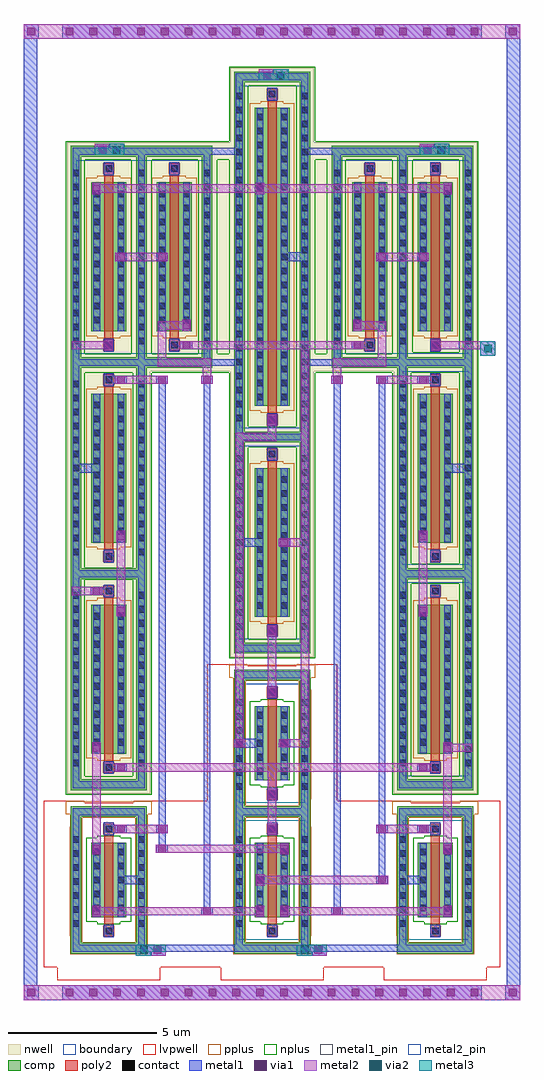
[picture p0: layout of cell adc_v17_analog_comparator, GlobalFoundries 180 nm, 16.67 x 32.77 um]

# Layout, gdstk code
import gdstk
lib = gdstk.Library(unit=1e-6, precision=1e-09)
def R(c, l, rs):  # rectangles x0, y0, x1, y1
    for r in rs: c.add(gdstk.rectangle(r[:2], r[2:], *l))
def A(c, l, x, y, w, h, nx, ny, dx, dy):  # array of equal rectangles
    R(c, l, [(x+i*dx, y+j*dy, x+i*dx+w, y+j*dy+h) for i in range(nx) for j in range(ny)])
def P(c, l, *ps):  # polygons
    for p in ps: c.add(gdstk.Polygon(p, *l))
boundary = (0, 0)
nwell = (21, 0)
comp = (22, 0)
poly2 = (30, 0)
pplus = (31, 0)
nplus = (32, 0)
contact = (33, 0)
metal1 = (34, 0)
metal1_pin = (34, 10)
via1 = (35, 0)
metal2 = (36, 0)
metal2_pin = (36, 10)
via2 = (38, 0)
metal3 = (42, 0)
lvpwell = (204, 0)

adc_v17_analog_comparato = lib.new_cell('adc_v17_analog_comparator')
A(adc_v17_analog_comparato, boundary, 530.855, 44.175, 2.2, 6.5, 1, 3, 0, 7.09)
R(adc_v17_analog_comparato, boundary, [(525.375,38.685,527.575,42.685), (530.855,38.685,533.055,42.685), (525.375,43.275,527.575,47.275), (525.375,48.765,527.575,55.265), (525.375,55.855,527.575,67.355), (519.89,58.355,522.09,64.855), (522.09,58.355,524.29,64.855), (528.655,58.355,530.855,64.855)])
A(adc_v17_analog_comparato, nwell, 530.555, 43.58, 2.8, 7.69, 1, 3, 0, 7.09)
R(adc_v17_analog_comparato, nwell, [(519.59,43.58,522.39,57.76), (525.075,48.17,527.875,55.86), (525.075,55.26,527.875,67.95), (519.59,57.76,522.39,65.45), (519.775,57.76,525.095,65.45), (521.79,57.76,524.59,65.45), (527.855,57.76,532.94,65.45), (528.355,57.76,531.155,65.45)])
A(adc_v17_analog_comparato, comp, 519.71, 43.7, 2.56, 0.36, 1, 4, 0, 7.09)
A(adc_v17_analog_comparato, comp, 519.71, 44.06, 0.36, 6.73, 1, 3, 0, 7.09)
A(adc_v17_analog_comparato, comp, 521.91, 44.06, 0.36, 6.73, 1, 3, 0, 7.09)
A(adc_v17_analog_comparato, comp, 530.675, 44.06, 0.36, 6.73, 1, 3, 0, 7.09)
A(adc_v17_analog_comparato, comp, 532.875, 44.06, 0.36, 6.73, 1, 3, 0, 7.09)
A(adc_v17_analog_comparato, comp, 520.4, 44.925, 1.18, 5, 1, 3, 0, 7.09)
A(adc_v17_analog_comparato, comp, 531.365, 44.925, 1.18, 5, 1, 3, 0, 7.09)
R(adc_v17_analog_comparato, comp, [(519.71,38.21,522.27,38.57), (525.195,38.21,527.755,38.57), (530.675,38.21,533.235,38.57), (519.71,38.57,520.07,42.8), (521.91,38.57,522.27,42.8), (525.195,38.57,525.555,42.8), (527.395,38.57,527.755,42.8), (530.675,38.57,531.035,42.8), (532.875,38.57,533.235,42.8), (520.4,39.435,521.58,41.935), (525.885,39.435,527.065,41.935), (531.365,39.435,532.545,41.935), (519.71,42.8,522.27,43.16), (525.195,42.8,527.755,43.16), (525.195,42.8,527.755,43.16), (530.675,42.8,533.235,43.16), (525.195,43.16,525.555,47.39), (527.395,43.16,527.755,47.39), (530.675,43.7,533.235,44.06), (525.885,44.025,527.065,46.525), (525.195,47.39,527.755,47.75), (525.195,48.29,527.755,48.65), (525.195,48.65,525.555,55.38), (527.395,48.65,527.755,55.38), (525.885,49.515,527.065,54.515), (530.675,50.79,533.235,51.15), (530.675,50.79,533.235,51.15), (525.195,55.38,527.755,55.74), (525.195,55.38,527.755,55.74), (525.195,55.74,525.555,67.47), (527.395,55.74,527.755,67.47), (525.885,56.605,527.065,66.605), (519.71,57.88,524.47,58.24), (521.91,57.88,524.47,58.24), (528.475,57.88,531.035,58.24), (530.675,57.88,533.235,58.24), (530.675,57.88,533.235,58.24), (519.71,58.24,520.07,64.97), (521.91,58.24,522.27,64.97), (521.91,58.24,522.27,64.97), (524.11,58.24,524.47,64.97), (524.11,58.24,524.47,64.97), (528.475,58.24,528.835,64.97), (530.675,58.24,531.035,64.97), (520.4,59.105,521.58,64.105), (522.6,59.105,523.78,64.105), (522.6,59.105,523.78,64.105), (529.165,59.105,530.345,64.105), (519.71,64.97,524.47,65.33), (521.91,64.97,524.47,65.33), (528.475,64.97,531.035,65.33), (530.675,64.97,533.235,65.33), (525.195,67.47,527.755,67.83)])
A(adc_v17_analog_comparato, poly2, 520.84, 44.64, 0.3, 5.57, 1, 3, 0, 7.09)
A(adc_v17_analog_comparato, poly2, 531.805, 44.64, 0.3, 5.57, 1, 3, 0, 7.09)
R(adc_v17_analog_comparato, poly2, [(520.81,38.79,521.17,39.15), (526.295,38.79,526.655,39.15), (531.775,38.79,532.135,39.15), (520.84,39.15,521.14,42.22), (526.325,39.15,526.625,42.22), (531.805,39.15,532.105,42.22), (520.81,42.22,521.17,42.58), (526.295,42.22,526.655,42.58), (531.775,42.22,532.135,42.58), (526.295,43.38,526.655,43.74), (526.325,43.74,526.625,46.81), (520.81,44.28,521.17,44.64), (531.775,44.28,532.135,44.64), (526.295,46.81,526.655,47.17), (526.295,48.87,526.655,49.23), (526.325,49.23,526.625,54.8), (520.81,50.21,521.17,50.57), (531.775,50.21,532.135,50.57), (520.81,51.37,521.17,51.73), (531.775,51.37,532.135,51.73), (526.295,54.8,526.655,55.16), (526.295,55.96,526.655,56.32), (526.325,56.32,526.625,66.89), (520.81,57.3,521.17,57.66), (531.775,57.3,532.135,57.66), (520.81,58.46,521.17,58.82), (520.81,58.46,521.17,58.82), (523.01,58.46,523.37,58.82), (523.01,58.46,523.37,58.82), (529.575,58.46,529.935,58.82), (531.775,58.46,532.135,58.82), (520.84,58.82,521.14,64.39), (523.04,58.82,523.34,64.39), (523.04,58.82,523.34,64.39), (529.605,58.82,529.905,64.39), (520.81,64.39,521.17,64.75), (520.81,64.39,521.17,64.75), (523.01,64.39,523.37,64.75), (523.01,64.39,523.37,64.75), (529.575,64.39,529.935,64.75), (531.775,64.39,532.135,64.75), (526.295,66.89,526.655,67.25)])
A(adc_v17_analog_comparato, pplus, 520.24, 44.765, 1.5, 5.32, 1, 3, 0, 7.09)
A(adc_v17_analog_comparato, pplus, 531.205, 44.765, 1.5, 5.32, 1, 3, 0, 7.09)
R(adc_v17_analog_comparato, pplus, [(519.69,38.19,522.29,38.59), (525.175,38.19,527.775,38.59), (530.655,38.19,533.255,38.59), (519.69,38.59,520.1,38.805), (521.88,38.59,522.29,38.805), (525.175,38.59,525.585,38.805), (527.365,38.59,527.775,38.805), (530.655,38.59,531.065,38.805), (532.845,38.59,533.255,38.805), (519.68,38.805,520.1,42.48), (521.88,38.805,522.3,42.48), (525.165,38.805,525.585,42.48), (527.365,38.805,527.785,42.48), (530.645,38.805,531.065,42.48), (532.845,38.805,533.265,42.48), (519.69,42.48,520.1,42.78), (521.88,42.48,522.29,42.78), (525.175,42.48,525.585,42.78), (527.365,42.48,527.775,42.78), (530.655,42.48,531.065,42.78), (532.845,42.48,533.255,42.78), (519.69,42.78,522.29,42.99), (525.175,42.78,527.775,43.18), (525.175,42.78,527.775,43.18), (530.655,42.78,533.255,43.18), (519.55,42.89,522.43,43.32), (530.515,42.89,533.395,43.32), (519.55,42.99,522.43,43.32), (530.515,42.99,530.655,43.18), (533.255,42.99,533.395,43.18), (525.175,43.18,525.585,43.395), (527.365,43.18,527.775,43.395), (530.515,43.18,533.395,43.32), (525.165,43.395,525.585,47.07), (527.365,43.395,527.785,47.07), (520.61,44.695,521.37,44.765), (531.575,44.695,532.335,44.765), (525.175,47.07,525.585,47.37), (527.365,47.07,527.775,47.37), (525.175,47.37,527.775,47.77), (525.035,47.48,527.915,47.91), (525.035,47.58,525.175,47.77), (527.775,47.58,527.915,47.77), (525.035,47.77,527.915,47.91), (526.095,49.285,526.855,49.355), (525.725,49.355,527.225,54.675), (520.61,50.085,521.37,50.155), (531.575,50.085,532.335,50.155), (520.61,51.785,521.37,51.855), (531.575,51.785,532.335,51.855), (526.095,54.675,526.855,54.745), (526.095,56.375,526.855,56.445), (525.725,56.445,527.225,66.765), (520.61,57.175,521.37,57.245), (531.575,57.175,532.335,57.245), (520.61,58.875,521.37,58.945), (520.61,58.875,521.37,58.945), (522.81,58.875,523.57,58.945), (522.81,58.875,523.57,58.945), (529.375,58.875,530.135,58.945), (531.575,58.875,532.335,58.945), (520.24,58.945,521.74,64.265), (522.44,58.945,523.94,64.265), (522.44,58.945,523.94,64.265), (529.005,58.945,530.505,64.265), (520.61,64.265,521.37,64.335), (520.61,64.265,521.37,64.335), (522.81,64.265,523.57,64.335), (522.81,64.265,523.57,64.335), (529.375,64.265,530.135,64.335), (531.575,64.265,532.335,64.335), (526.095,66.765,526.855,66.835)])
A(adc_v17_analog_comparato, nplus, 530.515, 44.17, 0.63, 6.51, 1, 3, 0, 7.09)
A(adc_v17_analog_comparato, nplus, 532.765, 44.17, 0.63, 6.51, 1, 3, 0, 7.09)
R(adc_v17_analog_comparato, nplus, [(520.61,39.205,521.37,39.275), (526.095,39.205,526.855,39.275), (531.575,39.205,532.335,39.275), (520.24,39.275,521.74,42.095), (525.725,39.275,527.225,42.095), (531.205,39.275,532.705,42.095), (520.61,42.095,521.37,42.165), (526.095,42.095,526.855,42.165), (531.575,42.095,532.335,42.165), (519.55,43.54,522.43,44.17), (530.515,43.54,533.395,44.17), (526.095,43.795,526.855,43.865), (525.725,43.865,527.225,46.685), (519.55,44.17,520.18,50.77), (521.8,44.17,522.43,50.77), (526.095,46.685,526.855,46.755), (525.035,48.13,527.915,48.76), (525.035,48.76,525.665,55.27), (527.285,48.76,527.915,55.27), (530.515,50.63,533.395,51.26), (530.515,50.68,533.395,51.31), (519.55,50.77,522.43,51.17), (519.55,51.17,520.18,57.86), (521.8,51.17,522.43,57.72), (525.035,55.22,527.915,55.85), (525.035,55.27,527.915,55.9), (525.035,55.85,525.665,67.36), (527.285,55.85,527.915,67.36), (519.55,57.72,522.43,58.35), (521.75,57.72,524.63,58.35), (521.985,57.72,525.035,57.86), (527.915,57.72,532.94,58.35), (528.315,57.72,531.195,58.35), (530.515,57.72,533.395,58.35), (530.515,57.77,533.395,58.4), (519.735,57.86,525.035,58.26), (519.55,58.26,520.18,64.86), (521.985,58.26,525.035,58.35), (519.55,58.35,520.18,64.86), (521.75,58.35,522.38,64.86), (521.8,58.35,522.43,64.86), (521.88,58.35,522.3,64.86), (524,58.35,524.63,64.86), (524.08,58.35,524.5,64.86), (528.315,58.35,528.945,64.86), (530.565,58.35,531.195,64.86), (519.55,64.86,522.43,65.49), (519.735,64.86,525.035,65.49), (521.75,64.86,524.63,65.49), (527.915,64.86,532.94,65.49), (528.315,64.86,531.195,65.49), (530.515,64.86,533.395,65.49), (525.035,67.36,527.915,67.99)])
A(adc_v17_analog_comparato, contact, 519.78, 39.12, 0.22, 0.22, 1, 7, 0, 0.47)
A(adc_v17_analog_comparato, contact, 521.98, 39.12, 0.22, 0.22, 1, 7, 0, 0.47)
A(adc_v17_analog_comparato, contact, 525.265, 39.12, 0.22, 0.22, 1, 7, 0, 0.47)
A(adc_v17_analog_comparato, contact, 527.465, 39.12, 0.22, 0.22, 1, 7, 0, 0.47)
A(adc_v17_analog_comparato, contact, 530.745, 39.12, 0.22, 0.22, 1, 7, 0, 0.47)
A(adc_v17_analog_comparato, contact, 532.945, 39.12, 0.22, 0.22, 1, 7, 0, 0.47)
A(adc_v17_analog_comparato, contact, 520.47, 39.635, 0.22, 0.22, 1, 5, 0, 0.47)
A(adc_v17_analog_comparato, contact, 521.29, 39.635, 0.22, 0.22, 1, 5, 0, 0.47)
A(adc_v17_analog_comparato, contact, 525.955, 39.635, 0.22, 0.22, 1, 5, 0, 0.47)
A(adc_v17_analog_comparato, contact, 526.775, 39.635, 0.22, 0.22, 1, 5, 0, 0.47)
A(adc_v17_analog_comparato, contact, 531.435, 39.635, 0.22, 0.22, 1, 5, 0, 0.47)
A(adc_v17_analog_comparato, contact, 532.255, 39.635, 0.22, 0.22, 1, 5, 0, 0.47)
A(adc_v17_analog_comparato, contact, 525.265, 43.71, 0.22, 0.22, 1, 7, 0, 0.47)
A(adc_v17_analog_comparato, contact, 527.465, 43.71, 0.22, 0.22, 1, 7, 0, 0.47)
A(adc_v17_analog_comparato, contact, 525.955, 44.225, 0.22, 0.22, 1, 5, 0, 0.47)
A(adc_v17_analog_comparato, contact, 526.775, 44.225, 0.22, 0.22, 1, 5, 0, 0.47)
A(adc_v17_analog_comparato, contact, 519.78, 44.495, 0.22, 0.22, 1, 13, 0, 0.47)
A(adc_v17_analog_comparato, contact, 521.98, 44.495, 0.22, 0.22, 1, 13, 0, 0.47)
A(adc_v17_analog_comparato, contact, 530.745, 44.495, 0.22, 0.22, 1, 13, 0, 0.47)
A(adc_v17_analog_comparato, contact, 532.945, 44.495, 0.22, 0.22, 1, 13, 0, 0.47)
A(adc_v17_analog_comparato, contact, 520.47, 45.2, 0.22, 0.22, 1, 10, 0, 0.47)
A(adc_v17_analog_comparato, contact, 521.29, 45.2, 0.22, 0.22, 1, 10, 0, 0.47)
A(adc_v17_analog_comparato, contact, 531.435, 45.2, 0.22, 0.22, 1, 10, 0, 0.47)
A(adc_v17_analog_comparato, contact, 532.255, 45.2, 0.22, 0.22, 1, 10, 0, 0.47)
A(adc_v17_analog_comparato, contact, 525.265, 49.085, 0.22, 0.22, 1, 13, 0, 0.47)
A(adc_v17_analog_comparato, contact, 527.465, 49.085, 0.22, 0.22, 1, 13, 0, 0.47)
A(adc_v17_analog_comparato, contact, 525.955, 49.79, 0.22, 0.22, 1, 10, 0, 0.47)
A(adc_v17_analog_comparato, contact, 526.775, 49.79, 0.22, 0.22, 1, 10, 0, 0.47)
A(adc_v17_analog_comparato, contact, 519.78, 51.585, 0.22, 0.22, 1, 13, 0, 0.47)
A(adc_v17_analog_comparato, contact, 521.98, 51.585, 0.22, 0.22, 1, 13, 0, 0.47)
A(adc_v17_analog_comparato, contact, 530.745, 51.585, 0.22, 0.22, 1, 13, 0, 0.47)
A(adc_v17_analog_comparato, contact, 532.945, 51.585, 0.22, 0.22, 1, 13, 0, 0.47)
A(adc_v17_analog_comparato, contact, 520.47, 52.29, 0.22, 0.22, 1, 10, 0, 0.47)
A(adc_v17_analog_comparato, contact, 521.29, 52.29, 0.22, 0.22, 1, 10, 0, 0.47)
A(adc_v17_analog_comparato, contact, 531.435, 52.29, 0.22, 0.22, 1, 10, 0, 0.47)
A(adc_v17_analog_comparato, contact, 532.255, 52.29, 0.22, 0.22, 1, 10, 0, 0.47)
A(adc_v17_analog_comparato, contact, 525.265, 56.09, 0.22, 0.22, 1, 24, 0, 0.47)
A(adc_v17_analog_comparato, contact, 527.465, 56.09, 0.22, 0.22, 1, 24, 0, 0.47)
A(adc_v17_analog_comparato, contact, 525.955, 56.795, 0.22, 0.22, 1, 21, 0, 0.47)
A(adc_v17_analog_comparato, contact, 526.775, 56.795, 0.22, 0.22, 1, 21, 0, 0.47)
A(adc_v17_analog_comparato, contact, 528.545, 58.675, 0.22, 0.22, 1, 13, 0, 0.47)
A(adc_v17_analog_comparato, contact, 532.945, 58.675, 0.22, 0.22, 1, 13, 0, 0.47)
A(adc_v17_analog_comparato, contact, 529.235, 59.38, 0.22, 0.22, 1, 10, 0, 0.47)
A(adc_v17_analog_comparato, contact, 530.055, 59.38, 0.22, 0.22, 1, 10, 0, 0.47)
A(adc_v17_analog_comparato, contact, 531.435, 59.38, 0.22, 0.22, 1, 10, 0, 0.47)
A(adc_v17_analog_comparato, contact, 532.255, 59.38, 0.22, 0.22, 1, 10, 0, 0.47)
R(adc_v17_analog_comparato, contact, [(520.88,38.86,521.1,39.08), (526.365,38.86,526.585,39.08), (531.845,38.86,532.065,39.08), (520.88,42.29,521.1,42.51), (526.365,42.29,526.585,42.51), (531.845,42.29,532.065,42.51), (526.365,43.45,526.585,43.67), (520.88,44.35,521.1,44.57), (531.845,44.35,532.065,44.57), (526.365,46.88,526.585,47.1), (526.365,48.94,526.585,49.16), (520.88,50.28,521.1,50.5), (531.845,50.28,532.065,50.5), (520.88,51.44,521.1,51.66), (531.845,51.44,532.065,51.66), (526.365,54.87,526.585,55.09), (526.365,56.03,526.585,56.25), (520.88,57.37,521.1,57.59), (531.845,57.37,532.065,57.59), (520.88,58.53,521.1,58.75), (520.88,58.53,521.1,58.75), (523.08,58.53,523.3,58.75), (523.08,58.53,523.3,58.75), (529.645,58.53,529.865,58.75), (531.845,58.53,532.065,58.75), (519.78,58.675,520,58.895), (519.78,58.675,520,58.895), (521.98,58.675,522.2,58.895), (521.98,58.675,522.2,58.895), (521.98,58.675,522.2,58.895), (524.18,58.675,524.4,58.895), (524.18,58.675,524.4,58.895), (530.745,58.675,530.965,58.895), (530.745,58.675,530.965,58.895), (519.78,59.145,520,59.365), (519.78,59.145,520,59.365), (521.98,59.145,522.2,59.365), (521.98,59.145,522.2,59.365), (521.98,59.145,522.2,59.365), (524.18,59.145,524.4,59.365), (524.18,59.145,524.4,59.365), (530.745,59.145,530.965,59.365), (530.745,59.145,530.965,59.365), (520.47,59.38,520.69,59.6), (520.47,59.38,520.69,59.6), (521.29,59.38,521.51,59.6), (521.29,59.38,521.51,59.6), (522.67,59.38,522.89,59.6), (522.67,59.38,522.89,59.6), (523.49,59.38,523.71,59.6), (523.49,59.38,523.71,59.6), (519.78,59.615,520,59.835), (519.78,59.615,520,59.835), (521.98,59.615,522.2,59.835), (521.98,59.615,522.2,59.835), (521.98,59.615,522.2,59.835), (524.18,59.615,524.4,59.835), (524.18,59.615,524.4,59.835), (530.745,59.615,530.965,59.835), (530.745,59.615,530.965,59.835), (520.47,59.85,520.69,60.07), (520.47,59.85,520.69,60.07), (521.29,59.85,521.51,60.07), (521.29,59.85,521.51,60.07), (522.67,59.85,522.89,60.07), (522.67,59.85,522.89,60.07), (523.49,59.85,523.71,60.07), (523.49,59.85,523.71,60.07), (519.78,60.085,520,60.305), (519.78,60.085,520,60.305), (521.98,60.085,522.2,60.305), (521.98,60.085,522.2,60.305), (521.98,60.085,522.2,60.305), (524.18,60.085,524.4,60.305), (524.18,60.085,524.4,60.305), (530.745,60.085,530.965,60.305), (530.745,60.085,530.965,60.305), (520.47,60.32,520.69,60.54), (520.47,60.32,520.69,60.54), (521.29,60.32,521.51,60.54), (521.29,60.32,521.51,60.54), (522.67,60.32,522.89,60.54), (522.67,60.32,522.89,60.54), (523.49,60.32,523.71,60.54), (523.49,60.32,523.71,60.54), (519.78,60.555,520,60.775), (519.78,60.555,520,60.775), (521.98,60.555,522.2,60.775), (521.98,60.555,522.2,60.775), (521.98,60.555,522.2,60.775), (524.18,60.555,524.4,60.775), (524.18,60.555,524.4,60.775), (530.745,60.555,530.965,60.775), (530.745,60.555,530.965,60.775), (520.47,60.79,520.69,61.01), (520.47,60.79,520.69,61.01), (521.29,60.79,521.51,61.01), (521.29,60.79,521.51,61.01), (522.67,60.79,522.89,61.01), (522.67,60.79,522.89,61.01), (523.49,60.79,523.71,61.01), (523.49,60.79,523.71,61.01), (519.78,61.025,520,61.245), (519.78,61.025,520,61.245), (521.98,61.025,522.2,61.245), (521.98,61.025,522.2,61.245), (521.98,61.025,522.2,61.245), (524.18,61.025,524.4,61.245), (524.18,61.025,524.4,61.245), (530.745,61.025,530.965,61.245), (530.745,61.025,530.965,61.245), (520.47,61.26,520.69,61.48), (520.47,61.26,520.69,61.48), (521.29,61.26,521.51,61.48), (521.29,61.26,521.51,61.48), (522.67,61.26,522.89,61.48), (522.67,61.26,522.89,61.48), (523.49,61.26,523.71,61.48), (523.49,61.26,523.71,61.48), (519.78,61.495,520,61.715), (519.78,61.495,520,61.715), (521.98,61.495,522.2,61.715), (521.98,61.495,522.2,61.715), (521.98,61.495,522.2,61.715), (524.18,61.495,524.4,61.715), (524.18,61.495,524.4,61.715), (530.745,61.495,530.965,61.715), (530.745,61.495,530.965,61.715), (520.47,61.73,520.69,61.95), (520.47,61.73,520.69,61.95), (521.29,61.73,521.51,61.95), (521.29,61.73,521.51,61.95), (522.67,61.73,522.89,61.95), (522.67,61.73,522.89,61.95), (523.49,61.73,523.71,61.95), (523.49,61.73,523.71,61.95), (519.78,61.965,520,62.185), (519.78,61.965,520,62.185), (521.98,61.965,522.2,62.185), (521.98,61.965,522.2,62.185), (521.98,61.965,522.2,62.185), (524.18,61.965,524.4,62.185), (524.18,61.965,524.4,62.185), (530.745,61.965,530.965,62.185), (530.745,61.965,530.965,62.185), (520.47,62.2,520.69,62.42), (520.47,62.2,520.69,62.42), (521.29,62.2,521.51,62.42), (521.29,62.2,521.51,62.42), (522.67,62.2,522.89,62.42), (522.67,62.2,522.89,62.42), (523.49,62.2,523.71,62.42), (523.49,62.2,523.71,62.42), (519.78,62.435,520,62.655), (519.78,62.435,520,62.655), (521.98,62.435,522.2,62.655), (521.98,62.435,522.2,62.655), (521.98,62.435,522.2,62.655), (524.18,62.435,524.4,62.655), (524.18,62.435,524.4,62.655), (530.745,62.435,530.965,62.655), (530.745,62.435,530.965,62.655), (520.47,62.67,520.69,62.89), (520.47,62.67,520.69,62.89), (521.29,62.67,521.51,62.89), (521.29,62.67,521.51,62.89), (522.67,62.67,522.89,62.89), (522.67,62.67,522.89,62.89), (523.49,62.67,523.71,62.89), (523.49,62.67,523.71,62.89), (519.78,62.905,520,63.125), (519.78,62.905,520,63.125), (521.98,62.905,522.2,63.125), (521.98,62.905,522.2,63.125), (521.98,62.905,522.2,63.125), (524.18,62.905,524.4,63.125), (524.18,62.905,524.4,63.125), (530.745,62.905,530.965,63.125), (530.745,62.905,530.965,63.125), (520.47,63.14,520.69,63.36), (520.47,63.14,520.69,63.36), (521.29,63.14,521.51,63.36), (521.29,63.14,521.51,63.36), (522.67,63.14,522.89,63.36), (522.67,63.14,522.89,63.36), (523.49,63.14,523.71,63.36), (523.49,63.14,523.71,63.36), (519.78,63.375,520,63.595), (519.78,63.375,520,63.595), (521.98,63.375,522.2,63.595), (521.98,63.375,522.2,63.595), (521.98,63.375,522.2,63.595), (524.18,63.375,524.4,63.595), (524.18,63.375,524.4,63.595), (530.745,63.375,530.965,63.595), (530.745,63.375,530.965,63.595), (520.47,63.61,520.69,63.83), (520.47,63.61,520.69,63.83), (521.29,63.61,521.51,63.83), (521.29,63.61,521.51,63.83), (522.67,63.61,522.89,63.83), (522.67,63.61,522.89,63.83), (523.49,63.61,523.71,63.83), (523.49,63.61,523.71,63.83), (519.78,63.845,520,64.065), (519.78,63.845,520,64.065), (521.98,63.845,522.2,64.065), (521.98,63.845,522.2,64.065), (521.98,63.845,522.2,64.065), (524.18,63.845,524.4,64.065), (524.18,63.845,524.4,64.065), (530.745,63.845,530.965,64.065), (530.745,63.845,530.965,64.065), (519.78,64.315,520,64.535), (519.78,64.315,520,64.535), (521.98,64.315,522.2,64.535), (521.98,64.315,522.2,64.535), (521.98,64.315,522.2,64.535), (524.18,64.315,524.4,64.535), (524.18,64.315,524.4,64.535), (530.745,64.315,530.965,64.535), (530.745,64.315,530.965,64.535), (520.88,64.46,521.1,64.68), (520.88,64.46,521.1,64.68), (523.08,64.46,523.3,64.68), (523.08,64.46,523.3,64.68), (529.645,64.46,529.865,64.68), (531.845,64.46,532.065,64.68), (526.365,66.96,526.585,67.18)])
A(adc_v17_analog_comparato, metal1, 519.42, 36.655, 0.5, 0.5, 18, 2, 0.8, 32.27)
A(adc_v17_analog_comparato, metal1, 518.135, 37.56, 0.46, 0.46, 1, 62, 0, 0.5)
A(adc_v17_analog_comparato, metal1, 534.345, 37.56, 0.46, 0.46, 1, 62, 0, 0.5)
A(adc_v17_analog_comparato, metal1, 519.775, 43.765, 2.43, 0.23, 1, 4, 0, 7.09)
A(adc_v17_analog_comparato, metal1, 521.975, 43.995, 0.23, 6.86, 1, 3, 0, 7.09)
A(adc_v17_analog_comparato, metal1, 530.74, 43.995, 0.23, 6.86, 1, 3, 0, 7.09)
A(adc_v17_analog_comparato, metal1, 532.94, 43.995, 0.23, 6.86, 1, 3, 0, 7.09)
A(adc_v17_analog_comparato, metal1, 531.43, 44.935, 0.23, 4.98, 1, 3, 0, 7.09)
A(adc_v17_analog_comparato, metal1, 532.25, 44.935, 0.23, 4.98, 1, 3, 0, 7.09)
R(adc_v17_analog_comparato, metal1, [(518.135,36.655,518.635,37.155), (518.135,36.655,518.635,37.155), (518.135,36.655,518.595,37.085), (519.42,36.655,533.52,37.155), (534.305,36.655,534.805,37.155), (534.305,36.655,534.805,37.155), (534.345,36.655,534.805,37.085), (518.135,37.085,518.595,68.995), (534.345,37.085,534.805,68.995), (522.415,38.14,522.9,38.505), (527.815,38.14,528.3,38.505), (519.775,38.275,519.96,38.505), (519.96,38.275,531.85,38.505), (522.335,38.275,522.565,38.505), (525.26,38.275,527.69,38.505), (527.58,38.275,527.81,38.505), (527.735,38.275,527.965,38.505), (530.74,38.275,533.17,38.505), (519.775,38.505,520.005,42.865), (521.975,38.505,522.205,40.535), (525.26,38.505,525.49,42.865), (527.46,38.505,527.69,42.865), (530.74,38.505,530.97,42.865), (532.94,38.505,533.17,42.865), (520.82,38.755,521.16,39.185), (526.305,38.755,526.645,39.185), (531.785,38.755,532.125,39.185), (520.45,39.445,520.71,39.825), (521.285,39.445,521.515,40.535), (525.935,39.445,526.195,39.825), (525.95,39.445,526.18,41.925), (526.755,39.445,527.015,39.825), (526.77,39.445,527,41.925), (531.43,39.445,531.66,41.925), (532.235,39.445,532.495,39.825), (532.25,39.445,532.48,41.925), (524.1,39.505,524.48,39.765), (528.465,39.505,528.845,39.765), (524.175,39.765,524.405,57.35), (528.54,39.765,528.77,57.35), (520.465,39.825,520.695,41.545), (525.935,40.495,526.21,40.875), (521.285,40.535,522.205,40.835), (530.835,40.535,531.44,40.835), (529.975,40.555,530.355,40.815), (530.05,40.815,530.28,42.27), (521.285,40.835,521.515,41.925), (521.975,40.835,522.205,42.865), (520.45,41.545,520.71,41.925), (526.755,41.545,527.015,41.925), (532.235,41.545,532.495,41.925), (522.59,41.605,522.97,41.865), (522.665,41.865,522.895,42.27), (520.82,42.185,521.16,42.27), (526.305,42.185,526.645,42.615), (531.785,42.185,532.125,42.615), (520.82,42.27,521.59,42.53), (522.59,42.27,522.97,42.53), (526.345,42.27,526.605,42.53), (529.975,42.27,530.355,42.53), (531.355,42.27,531.91,42.535), (520.82,42.53,521.16,42.615), (522.665,42.53,522.895,57.35), (530.05,42.53,530.28,57.35), (519.775,42.865,522.205,43.095), (525.26,42.865,527.69,43.095), (525.26,42.865,527.69,43.095), (530.74,42.865,533.17,43.095), (525.26,43.095,525.49,47.455), (527.46,43.095,527.69,47.455), (526.305,43.345,526.645,43.775), (526.345,43.43,526.605,43.69), (530.74,43.765,533.17,43.995), (519.775,43.995,520.005,50.855), (525.95,44.035,526.18,46.515), (526.77,44.035,527,46.515), (520.82,44.245,521.16,44.33), (531.785,44.245,532.125,44.675), (520.82,44.33,521.59,44.59), (531.355,44.33,531.81,44.59), (520.82,44.59,521.16,44.675), (520.45,44.935,520.71,45.315), (521.285,44.935,521.515,49.535), (532.235,44.935,532.495,45.315), (525.38,45.125,526.085,45.145), (525.185,45.145,526.085,45.275), (526.695,45.145,527.075,45.405), (525.185,45.275,526.09,45.405), (520.465,45.315,520.695,49.915), (525.385,45.405,526.09,45.425), (526.305,46.775,526.645,47.205), (526.345,46.86,526.605,47.12), (525.26,47.455,527.69,47.685), (525.26,48.355,527.69,48.585), (525.26,48.585,525.49,55.445), (527.46,48.585,527.69,55.445), (526.305,48.835,526.645,49.265), (526.345,48.92,526.605,49.18), (525.95,49.525,526.18,54.505), (526.77,49.525,527,54.505), (521.27,49.535,521.53,49.915), (531.415,49.535,531.675,49.915), (520.82,50.175,521.16,50.26), (531.785,50.175,532.125,50.605), (520.39,50.26,521.16,50.52), (520.82,50.52,521.16,50.605), (530.74,50.855,533.17,51.085), (530.74,50.855,533.17,51.085), (519.775,51.085,520.005,54.365), (520.82,51.335,521.16,51.765), (531.785,51.335,532.125,51.765), (525.365,51.865,526.08,52.015), (526.695,51.885,527.075,52.145), (525.37,52.015,526.085,52.165), (520.465,52.025,520.695,54.365), (521.27,52.025,521.53,52.405), (531.415,52.025,531.675,52.405), (521.285,52.405,521.515,57.005), (519.775,54.365,520.695,54.665), (532.45,54.365,533,54.665), (519.775,54.665,520.005,57.945), (520.465,54.665,520.695,57.005), (526.305,54.765,526.645,55.195), (525.26,55.445,527.69,55.675), (525.26,55.445,527.69,55.675), (525.26,55.675,525.49,67.535), (527.46,55.675,527.69,67.535), (526.305,55.925,526.645,56.355), (526.345,56.01,526.605,56.27), (525.95,56.615,526.18,66.595), (526.77,56.615,527,66.595), (520.82,57.265,521.16,57.35), (531.785,57.265,532.125,57.695), (520.82,57.35,521.59,57.61), (522.59,57.35,522.97,57.61), (524.1,57.35,524.48,57.61), (528.465,57.35,528.845,57.61), (529.975,57.35,530.355,57.61), (531.355,57.35,531.8,57.61), (520.82,57.61,521.16,57.695), (519.96,57.945,525.45,58.175), (521.975,57.945,524.405,58.175), (527.475,57.945,528.395,58.175), (528.395,57.945,528.54,58.175), (528.54,57.945,530.97,58.175), (530.74,57.945,533.17,58.175), (530.74,57.945,533.17,58.175), (519.775,58.175,520.005,65.035), (519.775,58.175,520.005,65.035), (521.975,58.175,522.205,65.035), (521.975,58.175,522.205,65.035), (524.175,58.175,524.405,65.035), (524.175,58.175,524.405,65.035), (528.54,58.175,528.77,65.035), (530.74,58.175,530.97,65.035), (520.82,58.425,521.16,58.855), (520.82,58.425,521.16,58.855), (523.02,58.425,523.36,58.855), (523.02,58.425,523.36,58.51), (529.585,58.425,529.925,58.855), (531.785,58.425,532.125,58.855), (523.02,58.51,523.79,58.77), (529.155,58.51,529.59,58.77), (529.59,58.51,529.925,58.77), (531.825,58.51,532.085,58.77), (523.02,58.77,523.36,58.855), (520.465,59.115,520.695,64.095), (520.465,59.115,520.695,63.715), (521.285,59.115,521.515,64.095), (521.285,59.115,521.515,61.475), (522.665,59.115,522.895,64.095), (522.665,59.115,522.895,61.475), (523.47,59.115,523.73,59.495), (523.485,59.115,523.715,64.095), (529.215,59.115,529.475,59.495), (529.23,59.115,529.46,64.095), (530.05,59.115,530.28,64.095), (523.485,59.495,523.715,64.095), (526.77,61.455,527.47,61.755), (521.21,61.475,521.59,61.735), (522.59,61.475,522.97,61.735), (529.975,61.475,530.355,61.735), (531.355,61.475,531.735,61.735), (521.285,61.735,521.515,64.095), (522.665,61.735,522.895,64.095), (520.45,63.715,520.71,64.095), (525.935,63.715,526.195,64.095), (532.235,63.715,532.495,64.095), (520.82,64.355,521.16,64.785), (520.82,64.355,521.16,64.785), (523.02,64.355,523.36,64.785), (523.02,64.355,523.36,64.785), (529.585,64.355,529.925,64.785), (531.785,64.355,532.125,64.785), (519.96,65.035,525.26,65.265), (520.515,65.035,521,65.4), (520.85,65.035,521.08,65.265), (521.975,65.035,524.405,65.265), (527.67,65.035,528.59,65.265), (528.54,65.035,530.97,65.265), (530.74,65.035,533.17,65.265), (531.425,65.035,531.91,65.4), (531.76,65.035,531.99,65.265), (526.305,66.855,526.645,67.285), (525.26,67.535,527.69,67.765), (526.025,67.535,526.51,67.9), (526.36,67.535,526.59,67.765), (518.135,68.925,518.635,69.425), (518.135,68.925,518.635,69.425), (519.42,68.925,533.52,69.425), (534.305,68.925,534.805,69.425), (534.305,68.925,534.805,69.425), (518.135,68.995,518.595,69.425), (534.345,68.995,534.805,69.425)])
R(adc_v17_analog_comparato, metal1_pin, [(526.36,38.275,526.59,38.505), (526.36,67.535,526.59,67.765)])
A(adc_v17_analog_comparato, via1, 519.54, 36.775, 0.26, 0.26, 18, 2, 0.8, 32.27)
R(adc_v17_analog_comparato, via1, [(518.255,36.775,518.515,37.035), (534.425,36.775,534.685,37.035), (522.495,38.21,522.755,38.47), (527.895,38.21,528.155,38.47), (520.45,39.505,520.71,39.765), (524.16,39.505,524.42,39.765), (525.935,39.505,526.195,39.765), (526.755,39.505,527.015,39.765), (528.525,39.505,528.785,39.765), (532.235,39.505,532.495,39.765), (525.94,40.555,526.2,40.815), (530.035,40.555,530.295,40.815), (520.45,41.605,520.71,41.865), (522.65,41.605,522.91,41.865), (526.755,41.605,527.015,41.865), (532.235,41.605,532.495,41.865), (521.27,42.27,521.53,42.53), (522.65,42.27,522.91,42.53), (526.345,42.27,526.605,42.53), (530.035,42.27,530.295,42.53), (531.415,42.27,531.675,42.53), (526.345,43.43,526.605,43.69), (521.27,44.33,521.53,44.59), (531.415,44.33,531.675,44.59), (520.45,44.995,520.71,45.255), (532.235,44.995,532.495,45.255), (525.245,45.145,525.505,45.405), (526.755,45.145,527.015,45.405), (526.345,46.86,526.605,47.12), (526.345,48.92,526.605,49.18), (521.27,49.595,521.53,49.855), (531.415,49.595,531.675,49.855), (520.45,50.26,520.71,50.52), (526.755,51.885,527.015,52.145), (521.27,52.085,521.53,52.345), (531.415,52.085,531.675,52.345), (526.345,56.01,526.605,56.27), (521.27,57.35,521.53,57.61), (522.65,57.35,522.91,57.61), (524.16,57.35,524.42,57.61), (528.525,57.35,528.785,57.61), (530.035,57.35,530.295,57.61), (531.415,57.35,531.675,57.61), (520.86,58.51,521.12,58.77), (523.47,58.51,523.73,58.77), (529.215,58.51,529.475,58.77), (531.825,58.51,532.085,58.77), (523.47,59.175,523.73,59.435), (529.215,59.175,529.475,59.435), (521.27,61.475,521.53,61.735), (522.65,61.475,522.91,61.735), (530.035,61.475,530.295,61.735), (531.415,61.475,531.675,61.735), (520.45,63.775,520.71,64.035), (525.935,63.775,526.195,64.035), (532.235,63.775,532.495,64.035), (520.66,65.07,520.92,65.33), (531.57,65.07,531.83,65.33), (526.17,67.57,526.43,67.83), (518.255,69.045,518.515,69.305), (534.425,69.045,534.685,69.305)])
A(adc_v17_analog_comparato, metal2, 519.42, 36.655, 0.5, 0.5, 18, 2, 0.8, 32.27)
R(adc_v17_analog_comparato, metal2, [(518.135,36.655,518.635,37.155), (518.135,36.655,518.635,37.155), (518.135,36.655,518.545,37.155), (518.545,36.655,534.395,37.155), (534.305,36.655,534.805,37.155), (534.305,36.655,534.805,37.155), (534.395,36.655,534.805,37.155), (521.9,38.14,522.9,38.505), (527.3,38.14,528.3,38.505), (520.44,39.445,520.72,39.495), (525.925,39.445,526.205,39.495), (526.745,39.445,527.025,39.495), (532.225,39.445,532.505,39.495), (520.44,39.495,520.625,39.775), (520.625,39.495,526.205,39.775), (526.745,39.495,532.325,39.775), (532.325,39.495,532.505,39.775), (520.44,39.775,520.72,39.825), (525.925,39.775,526.205,39.825), (526.745,39.775,527.025,39.825), (532.225,39.775,532.505,39.825), (525.925,40.495,526.22,40.545), (525.925,40.545,530.175,40.825), (530.175,40.545,530.365,40.825), (525.925,40.825,526.22,40.875), (520.44,41.545,520.72,45.315), (526.745,41.545,527.025,41.595), (532.225,41.545,532.505,44.985), (522.575,41.595,522.775,41.875), (522.775,41.595,527.025,41.875), (526.745,41.875,527.025,41.925), (526.335,42.21,526.615,44.32), (521.21,42.26,522.97,42.54), (529.975,42.26,531.735,42.54), (521.19,44.32,521.395,44.6), (521.395,44.32,531.555,44.6), (531.555,44.32,531.785,44.6), (532.225,44.985,533.195,45.265), (525.185,45.135,525.565,45.415), (526.695,45.135,527.715,45.415), (532.225,45.265,532.505,45.315), (525.235,45.415,525.515,55.42), (527.435,45.415,527.715,51.875), (526.335,46.8,526.615,49.24), (521.26,49.535,521.54,52.405), (531.405,49.535,531.685,52.405), (519.75,50.25,520.77,50.53), (526.695,51.875,527.715,52.155), (527.435,52.155,527.715,58.5), (525.235,55.42,526.615,55.7), (526.335,55.7,526.615,56.33), (521.21,57.34,522.97,57.62), (524.1,57.34,524.48,57.62), (528.465,57.34,528.845,57.62), (529.975,57.34,531.735,57.62), (524.15,57.62,524.43,57.92), (528.515,57.62,528.795,57.92), (522.64,57.92,524.43,58.2), (528.515,57.92,530.305,58.2), (522.64,58.2,522.92,59.165), (530.025,58.2,530.305,59.165), (533.47,58.28,533.97,58.78), (520.85,58.45,521.13,58.5), (531.815,58.45,532.095,58.5), (519.75,58.5,521.13,58.78), (523.38,58.5,523.595,58.78), (523.595,58.5,529.355,58.78), (529.355,58.5,529.54,58.78), (531.815,58.5,533.195,58.78), (533.195,58.5,533.47,58.78), (520.85,58.78,521.13,58.83), (531.815,58.78,532.095,58.83), (523.46,59.115,523.74,59.165), (529.205,59.115,529.485,59.165), (522.64,59.165,523.74,59.445), (529.205,59.165,530.305,59.445), (523.46,59.445,523.74,59.495), (529.205,59.445,529.485,59.495), (521.21,61.465,522.97,61.745), (529.975,61.465,531.735,61.745), (520.44,63.715,520.72,63.765), (525.925,63.715,526.205,63.765), (532.225,63.715,532.505,63.765), (520.44,63.765,520.625,64.045), (520.625,63.765,532.325,64.045), (532.325,63.765,532.505,64.045), (520.44,64.045,520.72,64.095), (525.925,64.045,526.205,64.095), (532.225,64.045,532.505,64.095), (520.515,65.035,521.515,65.4), (531.425,65.035,532.425,65.4), (526.025,67.535,527.025,67.9), (518.135,68.925,518.635,69.425), (518.135,68.925,518.635,69.425), (518.135,68.925,518.545,69.425), (518.545,68.925,534.395,69.425), (534.305,68.925,534.805,69.425), (534.305,68.925,534.805,69.425), (534.395,68.925,534.805,69.425)])
R(adc_v17_analog_comparato, metal2_pin, [(532.735,44.985,533.015,45.265), (519.75,50.25,520.03,50.53), (519.75,58.5,520.03,58.78), (532.735,58.5,533.015,58.78)])
R(adc_v17_analog_comparato, via2, [(522.04,38.215,522.3,38.475), (527.44,38.215,527.7,38.475), (533.59,58.4,533.85,58.66), (521.115,65.065,521.375,65.325), (532.025,65.065,532.285,65.325), (526.625,67.565,526.885,67.825)])
R(adc_v17_analog_comparato, metal3, [(521.9,38.14,522.415,38.505), (527.3,38.14,527.815,38.505), (521.9,38.275,522.9,38.505), (527.3,38.275,528.3,38.505), (533.47,58.28,533.97,58.78), (520.515,65.035,521.515,65.265), (521,65.035,521.515,65.4), (531.425,65.035,532.425,65.265), (531.91,65.035,532.425,65.4), (526.025,67.535,527.025,67.765), (526.51,67.535,527.025,67.9)])
R(adc_v17_analog_comparato, lvpwell, [(519.26,37.31,522.72,38.66), (524.745,37.31,528.205,38.66), (530.225,37.31,533.685,38.66), (518.81,37.76,520.16,39.255), (521.82,37.76,523.17,39.255), (524.295,37.76,525.645,39.255), (527.305,37.76,528.655,39.255), (529.775,37.76,531.125,39.255), (532.785,37.76,534.135,39.255), (519.59,38.09,522.39,43.28), (525.075,38.09,527.875,43.28), (530.555,38.09,533.355,43.28), (518.81,38.355,520.16,42.93), (521.82,38.355,523.17,42.93), (524.295,38.355,525.645,42.93), (527.305,38.355,528.655,42.93), (529.775,38.355,531.125,42.93), (532.785,38.355,534.135,42.93), (518.81,42.03,520.16,43.34), (521.82,42.03,523.17,43.34), (524.295,42.03,525.645,43.845), (527.305,42.03,528.655,43.845), (529.775,42.03,531.125,43.34), (532.785,42.03,534.135,43.34), (525.075,42.68,527.875,47.87), (524.295,42.945,525.645,47.52), (527.305,42.945,528.655,47.52), (519.67,43.28,522.39,43.285), (524.295,46.62,525.645,47.93), (527.305,46.62,528.655,47.93)])
P(adc_v17_analog_comparato, lvpwell, [(523.17,37.76),(523.17,38.355),(523.17,39.255),(523.17,42.03),(523.17,42.93),(523.17,43.34),(524.295,43.34),(524.295,42.945),(524.295,42.93),(524.295,42.03),(524.295,39.255),(524.295,38.355),(524.295,37.76)],
  [(528.655,37.76),(528.655,38.355),(528.655,39.255),(528.655,42.03),(528.655,42.93),(528.655,42.945),(528.655,43.34),(529.775,43.34),(529.775,42.93),(529.775,42.03),(529.775,39.255),(529.775,38.355),(529.775,37.76)])

lib.write_gds('adc_v17_analog_comparator.gds')
